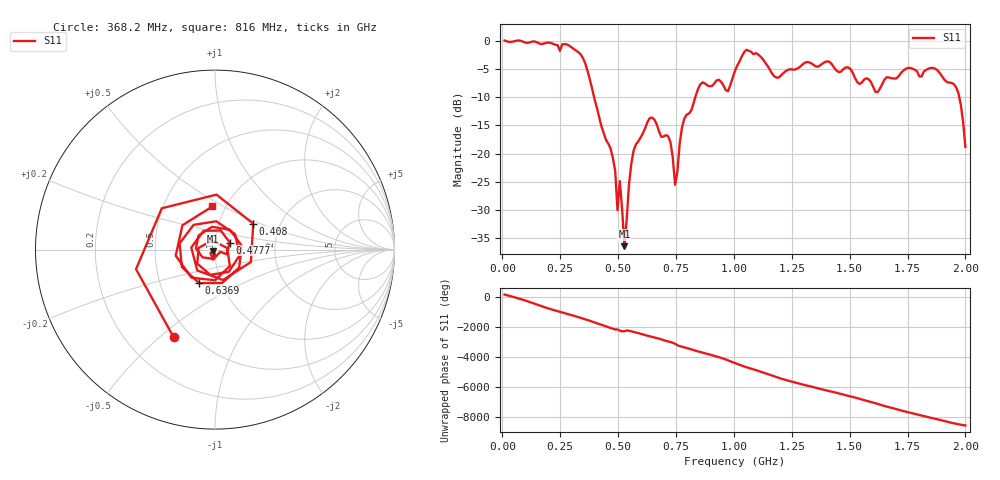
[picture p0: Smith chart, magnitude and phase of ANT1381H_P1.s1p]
!Created with skrf (http://scikit-rf.org).
# Hz S RI R 50.0
!freq ReS11 ImS11
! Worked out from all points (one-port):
!   201 points, 10 MHz to 2 GHz, reference 50 ohm
!   lowest |S11| = -36.4 dB at 527.4 MHz (marker M1), VSWR 1.03, Z = 48.9 - j0.972 ohm
!   |S11| at or under -10 dB: 396.5 MHz to 833.6 MHz (437.1 MHz wide, 71.1 % of centre); 1.973 GHz to end of sweep
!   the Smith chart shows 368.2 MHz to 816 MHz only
!   S11 on the Smith chart (normalised r, x): 368.2 MHz: 0.40, -0.56; 408 MHz: 1.46, +0.45; 477.6 MHz: 1.17, +0.09; 636.9 MHz: 0.78, -0.31; 816 MHz: 0.87, +0.44
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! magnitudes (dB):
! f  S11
! 10 MHz  0.0
! 258.8 MHz  -0.6
! 368.2 MHz  -5.3
! 408 MHz  -11.8
! 477.6 MHz  -20.8
! 497.6 MHz  -30.0
! 507.5 MHz  -24.9
! 527.4 MHz  -36.4
! 547.3 MHz  -25.4
! 567.2 MHz  -19.5
! 636.9 MHz  -13.7
! 716.5 MHz  -16.9
! 746.3 MHz  -25.5
! 756.2 MHz  -23.2
! 776.1 MHz  -15.3
! 816 MHz  -12.4
! 855.8 MHz  -7.7
! 975.1 MHz  -8.9
! 1.005 GHz  -5.3
! 1.055 GHz  -1.6
! 1.184 GHz  -6.5
! 1.254 GHz  -5.1
! 1.502 GHz  -4.9
! 1.612 GHz  -9.1
! 1.751 GHz  -4.8
! 1.95 GHz  -7.7
! 1.98 GHz  -11.3
! 2 GHz  -18.8
